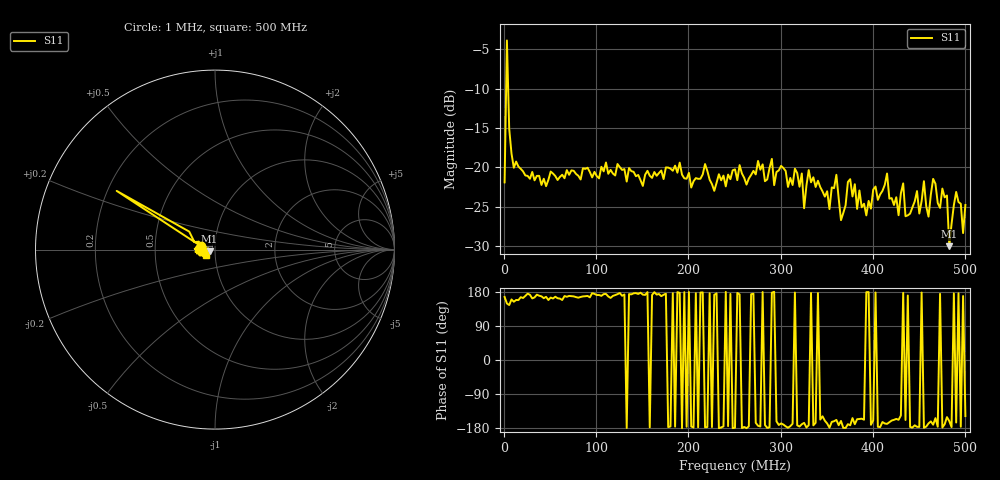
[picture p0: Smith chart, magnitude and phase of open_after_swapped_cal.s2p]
! PocketVna 1.54  pocketvna.com
! Live measurements ((Reflection-S11) Linear 1000000-500000000/201 calibrated)
# MHz S DB R 50
! MHz  dBS11  <S11  dBS21  <S21  dBS12  <S12  dBS22  <S22
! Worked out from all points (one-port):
!   201 points, 1 MHz to 500 MHz, reference 50 ohm
!   lowest |S11| = -30.0 dB at 482.5 MHz (marker M1), VSWR 1.07, Z = 47.1 - j0.96 ohm
!   |S11| at or under -10 dB: start of sweep to 2.649 MHz; 4.85 MHz to end of sweep
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1  -21.89 166.3  -200.00 0.0  -200.00 0.0  -200.00 0.0
3.495  -3.90 149.2  -200.00 0.0  -200.00 0.0  -200.00 0.0
5.99  -15.13 145.0  -200.00 0.0  -200.00 0.0  -200.00 0.0
10.98  -20.04 153.7  -200.00 0.0  -200.00 0.0  -200.00 0.0
85.83  -20.10 167.8  -200.00 0.0  -200.00 0.0  -200.00 0.0
168.165  -20.71 174.1  -200.00 0.0  -200.00 0.0  -200.00 0.0
250.5  -20.24 -178.8  -200.00 0.0  -200.00 0.0  -200.00 0.0
315.37  -20.16 178.0  -200.00 0.0  -200.00 0.0  -200.00 0.0
325.35  -25.17 -165.9  -200.00 0.0  -200.00 0.0  -200.00 0.0
335.33  -21.25 -172.4  -200.00 0.0  -200.00 0.0  -200.00 0.0
352.795  -25.27 -178.5  -200.00 0.0  -200.00 0.0  -200.00 0.0
360.28  -20.93 -158.1  -200.00 0.0  -200.00 0.0  -200.00 0.0
365.27  -26.68 -160.8  -200.00 0.0  -200.00 0.0  -200.00 0.0
375.25  -21.49 -172.3  -200.00 0.0  -200.00 0.0  -200.00 0.0
417.665  -23.95 -164.2  -200.00 0.0  -200.00 0.0  -200.00 0.0
455.09  -21.74 -178.7  -200.00 0.0  -200.00 0.0  -200.00 0.0
460.08  -26.23 -167.3  -200.00 0.0  -200.00 0.0  -200.00 0.0
465.07  -21.45 -170.7  -200.00 0.0  -200.00 0.0  -200.00 0.0
480.04  -23.56 -150.7  -200.00 0.0  -200.00 0.0  -200.00 0.0
482.535  -29.98 -161.3  -200.00 0.0  -200.00 0.0  -200.00 0.0
490.02  -23.10 -165.0  -200.00 0.0  -200.00 0.0  -200.00 0.0
500  -24.75 -148.1  -200.00 0.0  -200.00 0.0  -200.00 0.0
